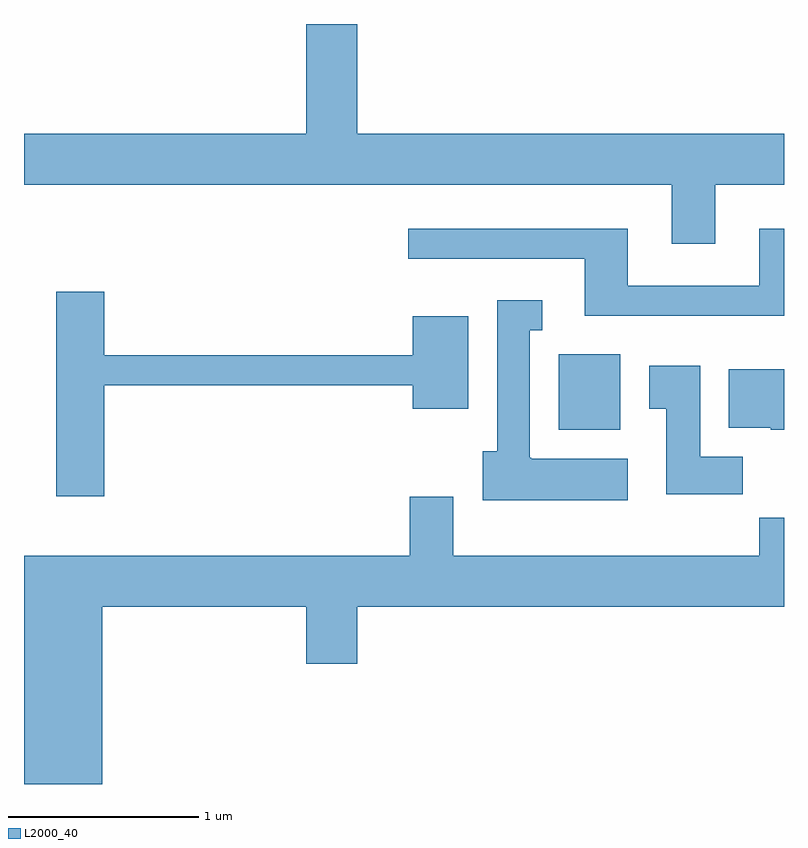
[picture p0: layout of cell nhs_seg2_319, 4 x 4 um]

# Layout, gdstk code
import gdstk
lib = gdstk.Library(unit=1e-6, precision=1e-09)
def R(c, l, rs):  # rectangles x0, y0, x1, y1
    for r in rs: c.add(gdstk.rectangle(r[:2], r[2:], *l))
def P(c, l, *ps):  # polygons
    for p in ps: c.add(gdstk.Polygon(p, *l))
L2000_40 = (2000, 40)

nhs_seg2_319 = lib.new_cell('nhs_seg2_319')
R(nhs_seg2_319, L2000_40, [(196.426,1073.666,196.749,1074.064)])
P(nhs_seg2_319, L2000_40, [(197.249,1074.956),(197.611,1074.956),(197.611,1075.224),(195.364,1075.224),(195.364,1075.802),(195.096,1075.802),(195.096,1075.224),(193.611,1075.224),(193.611,1074.956),(197.021,1074.956),(197.021,1074.646),(197.249,1074.646)],
  [(197.611,1074.724),(197.481,1074.724),(197.481,1074.424),(196.789,1074.424),(196.789,1074.724),(195.633,1074.724),(195.633,1074.566),(196.561,1074.566),(196.561,1074.266),(197.611,1074.266)],
  [(194.034,1073.901),(195.656,1073.901),(195.656,1073.776),(195.949,1073.776),(195.949,1074.264),(195.656,1074.264),(195.656,1074.059),(194.034,1074.059),(194.034,1074.394),(193.781,1074.394),(193.781,1073.316),(194.034,1073.316)],
  [(196.789,1073.514),(196.28,1073.514),(196.28,1073.52),(196.274,1073.52),(196.274,1074.191),(196.338,1074.191),(196.338,1074.349),(196.101,1074.349),(196.101,1073.554),(196.026,1073.554),(196.026,1073.296),(196.789,1073.296)],
  [(197.394,1073.524),(197.169,1073.524),(197.169,1074.004),(196.901,1074.004),(196.901,1073.776),(196.991,1073.776),(196.991,1073.326),(197.394,1073.326)],
  [(197.611,1073.984),(197.321,1073.984),(197.321,1073.676),(197.54,1073.676),(197.54,1073.666),(197.611,1073.666)],
  [(194.024,1072.736),(195.096,1072.736),(195.096,1072.436),(195.364,1072.436),(195.364,1072.736),(197.611,1072.736),(197.611,1073.204),(197.481,1073.204),(197.481,1073.004),(195.869,1073.004),(195.869,1073.314),(195.641,1073.314),(195.641,1073.004),(193.611,1073.004),(193.611,1071.802),(194.024,1071.802)])

lib.write_gds('nhs_seg2_319.gds')
